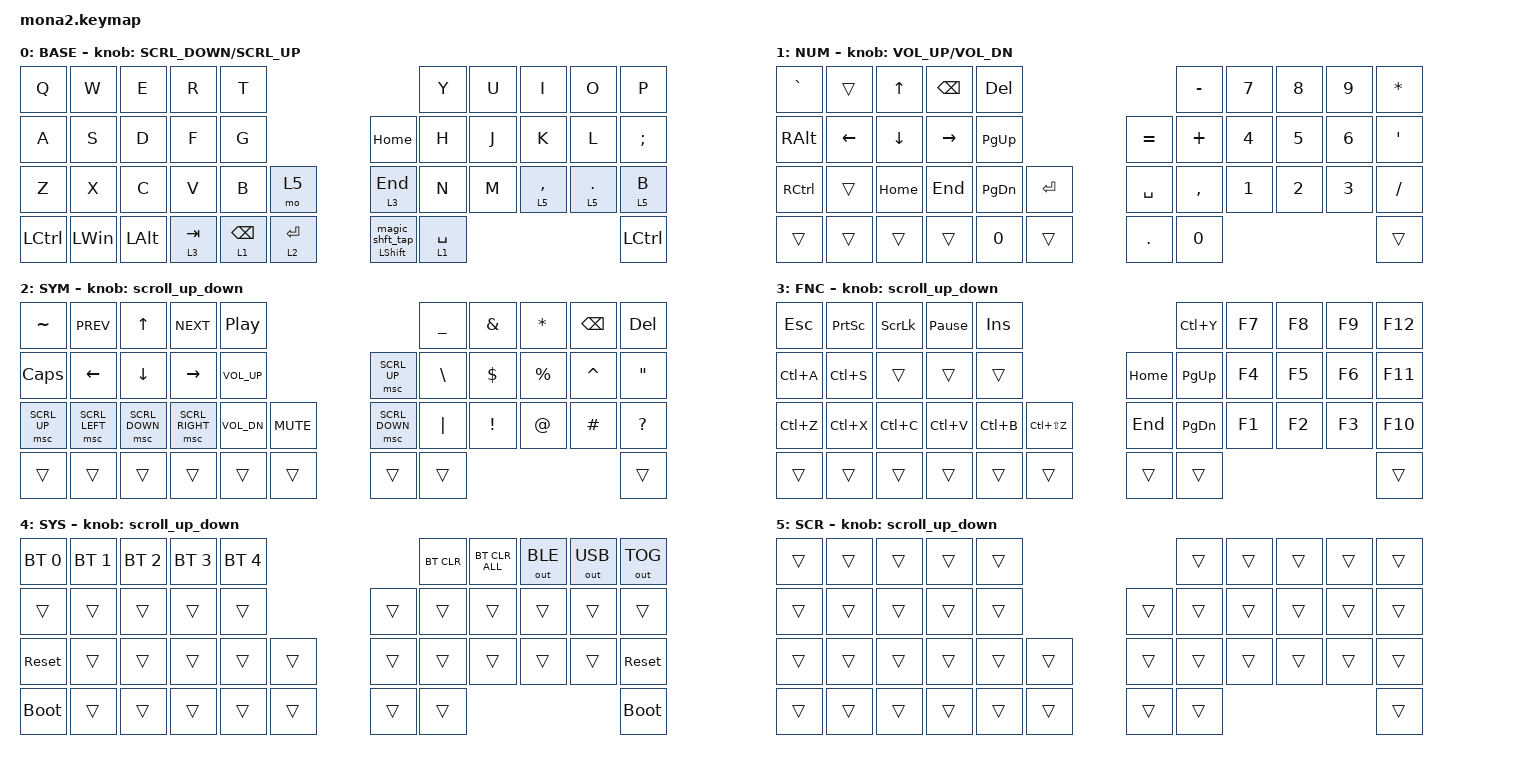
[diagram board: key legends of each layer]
/*
 * SPDX-License-Identifier: MIT
 */

#include <input/processors.dtsi>
#include <dt-bindings/zmk/input_transform.h>
#include <zephyr/dt-bindings/input/input-event-codes.h>
#include <behaviors.dtsi>
#include <dt-bindings/zmk/bt.h>
#include <dt-bindings/zmk/keys.h>
#include <dt-bindings/zmk/outputs.h>
#include <dt-bindings/zmk/pointing.h>

&lt {
    tapping-term-ms = <300>;
    quick-tap-ms = <180>;
};

/ {
    combos {
        compatible = "zmk,combos";

        combo_lpar {
            bindings = <&kp LPAR>;
            key-positions = <2 1>;
        };

        combo_rpar {
            bindings = <&kp RPAR>;
            key-positions = <7 8>;
        };

        combo_next {
            bindings = <&mkp MB5>;
            key-positions = <16 28>;
        };

        combo_prev {
            bindings = <&mkp MB4>;
            key-positions = <17 29>;
        };

        combo_lclk {
            bindings = <&mkp LCLK>;
            key-positions = <18 30>;
        };

        combo_rclk {
            bindings = <&mkp RCLK>;
            key-positions = <19 31>;
        };

        combo_mclk {
            bindings = <&mkp MCLK>;
            key-positions = <30 31>;
        };

        combo_bapc {
            bindings = <&kp BSPC>;
            key-positions = <9 20>;
        };

        combo_enter {
            bindings = <&kp ENTER>;
            key-positions = <20 32>;
        };

        combo_lang {
            bindings = <&kp RALT>;
            key-positions = <29 30>;
        };

        combo_hanja {
            bindings = <&kp RCTRL>;
            key-positions = <28 29>;
        };

        combo_esc {
            bindings = <&kp ESC>;
            key-positions = <0 10>;
        };

        combo_undo {
            bindings = <&kp LC(Z)>;
            key-positions = <10 21>;
        };

        combo_cut {
            bindings = <&kp LC(X)>;
            key-positions = <11 22>;
        };

        combo_copy {
            bindings = <&kp LC(C)>;
            key-positions = <12 23>;
        };

        combo_paste {
            bindings = <&kp LC(V)>;
            key-positions = <13 24>;
        };

        combo_lbkt {
            bindings = <&kp LBKT>;
            key-positions = <3 2>;
        };

        combo_rbkt {
            bindings = <&kp RBKT>;
            key-positions = <6 7>;
        };

        combo_sym {
            bindings = <&mo 2>;
            key-positions = <39 40>;
        };

        combo_lbrc {
            bindings = <&kp LBRC>;
            key-positions = <4 3>;
        };

        combo_rbrc {
            bindings = <&kp RBRC>;
            key-positions = <5 6>;
        };

        combo_lwin {
            bindings = <&kp LWIN>;
            key-positions = <4 14>;
        };

        combo_lctrl {
            bindings = <&kp LCTRL>;
            key-positions = <3 13>;
        };

        combo_lshft {
            bindings = <&kp LSHFT>;
            key-positions = <2 12>;
        };

        combo_lalt {
            bindings = <&kp LALT>;
            key-positions = <1 11>;
        };

        combo_rwin {
            bindings = <&kp RWIN>;
            key-positions = <5 16>;
        };

        combo_rctrl {
            bindings = <&kp LCTRL>;
            key-positions = <17 6>;
        };

        combo_rshft {
            bindings = <&kp RSHFT>;
            key-positions = <7 18>;
        };

        combo_ralt {
            bindings = <&kp LALT>;
            key-positions = <19 8>;
        };
    };

    behaviors {
        hm: hm {
            compatible = "zmk,behavior-hold-tap";
            label = "HM";
            bindings = <&kp>, <&kp>;

            #binding-cells = <2>;
            quick-tap-ms = <180>;
            flavor = "tap-preferred";
            hold-trigger-on-release;
            tapping-term-ms = <300>;
        };

        ltq: ltq {
            compatible = "zmk,behavior-hold-tap";
            label = "LTQ";
            bindings = <&mo>, <&kp>;

            #binding-cells = <2>;
            tapping-term-ms = <200>;
            quick-tap-ms = <175>;
            flavor = "balanced";
            require-prior-idle-ms = <100>;
        };

        scroll_up_down: mouse_wheel_up_down {
            compatible = "zmk,behavior-sensor-rotate";
            #sensor-binding-cells = <0>;
            bindings = <&msc SCRL_DOWN>, <&msc SCRL_UP>;
        };

        hmr: homerow_right_mods {
            compatible = "zmk,behavior-hold-tap";
            label = "HOMEROW_RIGHT_MODS";
            bindings = <&kp>, <&kp>;

            #binding-cells = <2>;
            tapping-term-ms = <300>;
            quick-tap-ms = <175>;
            require-prior-idle-ms = <200>;
            flavor = "tap-preferred";
            hold-trigger-key-positions = <0 1 2 3 4 10 11 12 13 14 21 22 23 24 25 36 37 38 39 40>;
            hold-trigger-on-release;
        };

        hml: homerow_left_mods {
            compatible = "zmk,behavior-hold-tap";
            label = "HOMEROW_LEFT_MODS";
            bindings = <&kp>, <&kp>;

            #binding-cells = <2>;
            tapping-term-ms = <300>;
            quick-tap-ms = <175>;
            require-prior-idle-ms = <200>;
            flavor = "tap-preferred";
            hold-trigger-key-positions = <5 6 7 8 9 16 17 18 19 20 28 29 30 31 32 36 37 38 39 40>;
            hold-trigger-on-release;
        };

        sk_shft: sk_shft {
            compatible = "zmk,behavior-sticky-key";
            label = "SK_SHFT";
            bindings = <&kp>;
            #binding-cells = <1>;
            release-after-ms = <1000>;
            quick-release;
        };

        magic_shft_tap: magic_shft_tap {
            compatible = "zmk,behavior-mod-morph";
            label = "MAGIC_SHFT_TAP";
            bindings = <&sk_shft LSHFT>, <&caps_word>;

            #binding-cells = <0>;
            mods = <(MOD_LSFT)>;
        };

        magic_shft: magic_shft {
            compatible = "zmk,behavior-hold-tap";
            label = "MAGIC_SHFT";
            bindings = <&kp>, <&magic_shft_tap>;

            #binding-cells = <2>;
            tapping-term-ms = <200>;
            quick-tap-ms = <150>;
            flavor = "balanced";
        };

        scroll_test: scroll_test {
            compatible = "zmk,behavior-sensor-rotate-var";
            label = "SCROLL_TEST";
            #sensor-binding-cells = <2>;
            bindings = <&msc>, <&msc>;
        };
    };

    keymap {
        compatible = "zmk,keymap";

        default_layer {
            bindings = <
&kp Q      &kp W     &kp E     &kp R       &kp T                                               &kp Y         &kp U  &kp I         &kp O       &kp P
&kp A      &kp S     &kp D     &kp F       &kp G                          &kp HOME             &kp H         &kp J  &kp K         &kp L       &kp SEMI
&kp Z      &kp X     &kp C     &kp V       &kp B        &mo 5             &ltq 3 END           &kp N         &kp M  &ltq 5 COMMA  &ltq 5 DOT  &ltq 5 B
&kp LCTRL  &kp LWIN  &kp LALT  &ltq 3 TAB  &ltq 1 BSPC  &ltq 2 ENTER      &magic_shft LSHFT 0  &ltq 1 SPACE                                   &kp LCTRL
            >;

            sensor-bindings = <&scroll_test SCRL_DOWN SCRL_UP>;
            display-name = "BASE";
        };

        Num_layer {
            bindings = <
&kp GRAVE  &trans    &kp UP    &kp BSPC   &kp DEL                              &kp MINUS  &kp N7  &kp N8  &kp N9  &kp ASTRK
&kp RALT   &kp LEFT  &kp DOWN  &kp RIGHT  &kp PG_UP                 &kp EQUAL  &kp PLUS   &kp N4  &kp N5  &kp N6  &kp SQT
&kp RCTRL  &trans    &kp HOME  &kp END    &kp PG_DN  &kp ENTER      &kp SPACE  &kp COMMA  &kp N1  &kp N2  &kp N3  &kp SLASH
&trans     &trans    &trans    &trans     &kp N0     &trans         &kp DOT    &kp N0                             &trans
            >;

            sensor-bindings = <&inc_dec_kp C_VOL_UP C_VOL_DN>;
            display-name = "NUM";
        };

        Sym_layer {
            bindings = <
&kp TILDE     &kp C_PREV      &kp UP          &kp C_NEXT       &kp C_PLAY_PAUSE                                  &kp UNDER  &kp AMPS  &kp ASTRK  &kp BSPC   &kp DEL
&kp CAPS      &kp LEFT        &kp DOWN        &kp RIGHT        &kp C_VOL_UP                      &msc SCRL_UP    &kp BSLH   &kp DLLR  &kp PRCNT  &kp CARET  &kp DQT
&msc SCRL_UP  &msc SCRL_LEFT  &msc SCRL_DOWN  &msc SCRL_RIGHT  &kp C_VOL_DN      &kp K_MUTE      &msc SCRL_DOWN  &kp PIPE   &kp EXCL  &kp AT     &kp HASH   &kp QMARK
&trans        &trans          &trans          &trans           &trans            &trans          &trans          &trans                                     &trans
            >;

            sensor-bindings = <&scroll_up_down>;
            display-name = "SYM";
        };

        Fnc_layer {
            bindings = <
&kp ESC    &kp PRINTSCREEN  &kp SCROLLLOCK  &kp PAUSE_BREAK  &kp INS                                 &kp LC(Y)  &kp F7  &kp F8  &kp F9  &kp F12
&kp LC(A)  &kp LC(S)        &trans          &trans           &trans                        &kp HOME  &kp PG_UP  &kp F4  &kp F5  &kp F6  &kp F11
&kp LC(Z)  &kp LC(X)        &kp LC(C)       &kp LC(V)        &kp LC(B)  &kp LC(LS(Z))      &kp END   &kp PG_DN  &kp F1  &kp F2  &kp F3  &kp F10
&trans     &trans           &trans          &trans           &trans     &trans             &trans    &trans                             &trans
            >;

            sensor-bindings = <&scroll_up_down>;
            display-name = "FNC";
        };

        Sys_layer {
            bindings = <
&bt BT_SEL 0  &bt BT_SEL 1  &bt BT_SEL 2  &bt BT_SEL 3  &bt BT_SEL 4                      &bt BT_CLR  &bt BT_CLR_ALL  &out OUT_BLE  &out OUT_USB  &out OUT_TOG
&trans        &trans        &trans        &trans        &trans                    &trans  &trans      &trans          &trans        &trans        &trans
&sys_reset    &trans        &trans        &trans        &trans        &trans      &trans  &trans      &trans          &trans        &trans        &sys_reset
&bootloader   &trans        &trans        &trans        &trans        &trans      &trans  &trans                                                  &bootloader
            >;

            sensor-bindings = <&scroll_up_down>;
            display-name = "SYS";
        };

        Scroll_layer {
            bindings = <
&trans  &trans  &trans  &trans  &trans                      &trans  &trans  &trans  &trans  &trans
&trans  &trans  &trans  &trans  &trans              &trans  &trans  &trans  &trans  &trans  &trans
&trans  &trans  &trans  &trans  &trans  &trans      &trans  &trans  &trans  &trans  &trans  &trans
&trans  &trans  &trans  &trans  &trans  &trans      &trans  &trans                          &trans
            >;

            sensor-bindings = <&scroll_up_down>;
            display-name = "SCR";
        };
    };

    conditional_layers {
        compatible = "zmk,conditional-layers";

        Sys_layer {
            if-layers = <1 3>;
            then-layer = <4>;
        };
    };
};
